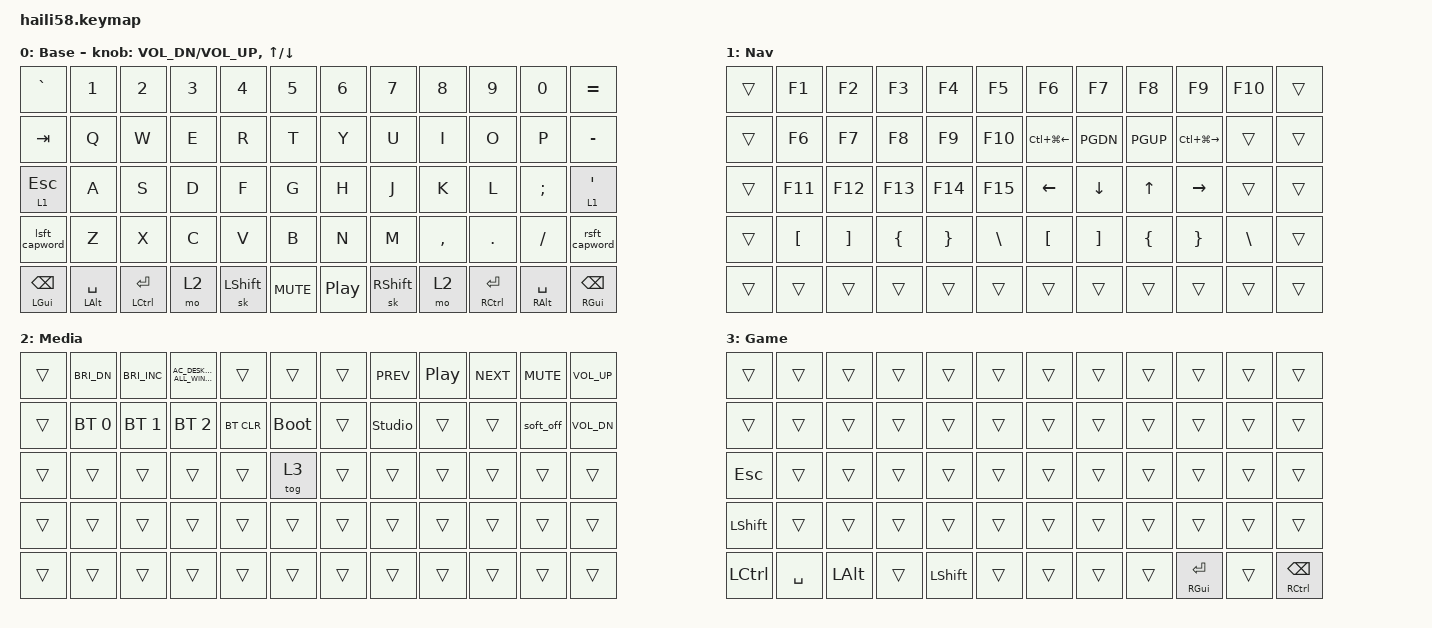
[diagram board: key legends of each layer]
#include <behaviors.dtsi>
#include <dt-bindings/zmk/keys.h>
#include <dt-bindings/zmk/bt.h>

// Key positions per half, used by the thumb mod-taps' positional guard.
#define KEYS_L 0 1 2 3 4 5 12 13 14 15 16 17 24 25 26 27 28 29 36 37 38 39 40 41 48 49 50 51 52 53
#define KEYS_R 6 7 8 9 10 11 18 19 20 21 22 23 30 31 32 33 34 35 42 43 44 45 46 47 54 55 56 57 58 59
// Same-side exceptions for the left thumbs: ` (0) and Tab (12), so one-handed
// Cmd+Tab and Cmd+` (switch VS Code windows) work.
#define SWITCH_L 0 12

/ {
    behaviors {
        lsft_capword: lsft_capword {
            compatible = "zmk,behavior-tap-dance";
            #binding-cells = <0>;
            tapping-term-ms = <200>;
            bindings = <&kp LSFT>, <&caps_word>;
        };
        rsft_capword: rsft_capword {
            compatible = "zmk,behavior-tap-dance";
            #binding-cells = <0>;
            tapping-term-ms = <200>;
            bindings = <&kp RSFT>, <&caps_word>;
        };
        tml: thumb_mod_left {
            compatible = "zmk,behavior-hold-tap";
            #binding-cells = <2>;
            flavor = "balanced";
            tapping-term-ms = <200>;
            require-prior-idle-ms = <150>;
            hold-trigger-key-positions = <KEYS_R SWITCH_L>;
            hold-trigger-on-release;
            bindings = <&kp>, <&kp>;
        };
        tmr: thumb_mod_right {
            compatible = "zmk,behavior-hold-tap";
            #binding-cells = <2>;
            flavor = "balanced";
            tapping-term-ms = <200>;
            require-prior-idle-ms = <150>;
            hold-trigger-key-positions = <KEYS_L>;
            hold-trigger-on-release;
            bindings = <&kp>, <&kp>;
        };
    };

    keymap {
        compatible = "zmk,keymap";

        default_layer {
            display-name = "Base";
            bindings = <
&kp GRAVE                 &kp N1    &kp N2    &kp N3    &kp N4  &kp N5          &kp N6  &kp N7   &kp N8     &kp N9   &kp N0     &kp EQL
&kp TAB                   &kp Q     &kp W     &kp E     &kp R   &kp T           &kp Y   &kp U    &kp I      &kp O    &kp P      &kp MINUS
&lt 1 ESC    &kp A     &kp S     &kp D     &kp F   &kp G           &kp H   &kp J    &kp K      &kp L    &kp SEMI   &lt 1 APOS
&lsft_capword             &kp Z     &kp X     &kp C     &kp V   &kp B           &kp N   &kp M    &kp COMMA  &kp DOT  &kp FSLH   &rsft_capword
&tml LGUI BKSP &tml LALT SPACE &tml LCTL ENTER  &mo 2     &sk LSHFT &kp C_MUTE       &kp C_PP       &sk RSHFT &mo 2      &tmr RCTL ENTER &tmr RALT SPACE &tmr RGUI BKSP
            >;

            sensor-bindings = <&inc_dec_kp C_VOL_DN C_VOL_UP &inc_dec_kp UP DOWN>;
        };

        layer_1 {
            display-name = "Nav";
            bindings = <
&trans       &kp F1   &kp F2   &kp F3   &kp F4   &kp F5           &kp F6   &kp F7    &kp F8    &kp F9     &kp F10  &trans
&trans       &kp F6   &kp F7   &kp F8   &kp F9   &kp F10          &kp LC(LG(LEFT)) &kp PGDN  &kp PGUP    &kp LC(LG(RIGHT))    &trans   &trans
&trans       &kp F11  &kp F12  &kp F13  &kp F14  &kp F15          &kp LEFT &kp DOWN  &kp UP    &kp RIGHT  &trans   &trans
&trans       &kp LBKT &kp RBKT &kp LBRC &kp RBRC &kp BSLH         &kp LBKT &kp RBKT  &kp LBRC  &kp RBRC   &kp BSLH &trans
&trans       &trans   &trans   &trans  &trans  &trans             &trans   &trans    &trans    &trans     &trans   &trans
            >;
        };

        layer_2 {
            display-name = "Media";
            bindings = <
&trans  &kp C_BRI_DN  &kp C_BRI_INC  &kp C_AC_DESKTOP_SHOW_ALL_WINDOWS  &trans  &trans      &trans   &kp C_PREV &kp C_PP &kp C_NEXT &kp C_MUTE &kp C_VOL_UP
&trans  &bt BT_SEL 0  &bt BT_SEL 1  &bt BT_SEL 2  &bt BT_CLR  &bootloader      &trans   &studio_unlock &trans &trans &soft_off &kp C_VOL_DN
&trans  &trans  &trans  &trans  &trans  &tog 3      &trans   &trans &trans &trans &trans &trans
&trans  &trans  &trans  &trans  &trans  &trans      &trans   &trans &trans &trans &trans &trans
&trans  &trans  &trans  &trans  &trans  &trans      &trans   &trans &trans &trans &trans &trans
            >;
        };

        // Windows gaming, toggled with Media+G. Left half: plain keys with no
        // mod-taps, so holding Space/Shift/Esc never turns into a modifier or
        // layer, and no Win key under the left thumb. Right thumbs swap Cmd
        // and Ctrl so Mac shortcut muscle memory (thumb 1 + C/V) means Ctrl
        // on Windows. Media+G (thumb 4 stays &trans) turns it back off.
        game_layer {
            display-name = "Game";
            bindings = <
&trans     &trans     &trans    &trans  &trans     &trans      &trans  &trans  &trans  &trans          &trans  &trans
&trans     &trans     &trans    &trans  &trans     &trans      &trans  &trans  &trans  &trans          &trans  &trans
&kp ESC    &trans     &trans    &trans  &trans     &trans      &trans  &trans  &trans  &trans          &trans  &trans
&kp LSHFT  &trans     &trans    &trans  &trans     &trans      &trans  &trans  &trans  &trans          &trans  &trans
&kp LCTRL  &kp SPACE  &kp LALT  &trans  &kp LSHFT  &trans      &trans  &trans  &trans  &tmr RGUI ENTER &trans  &tmr RCTL BKSP
            >;
        };
    };
};
